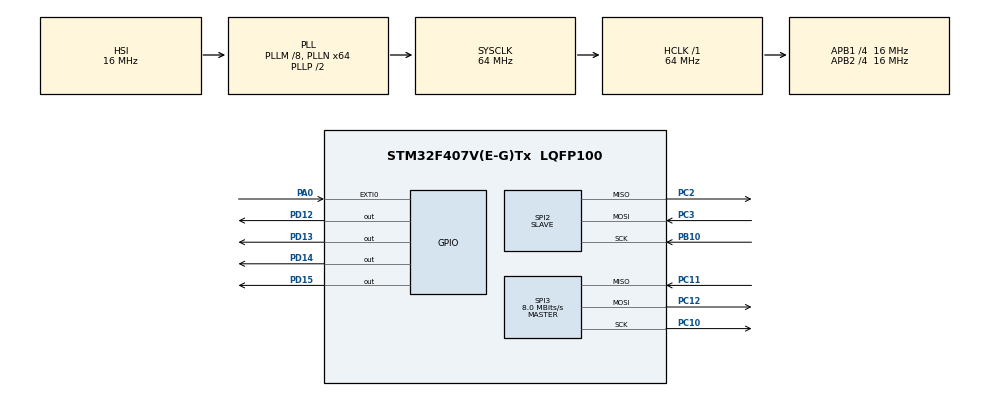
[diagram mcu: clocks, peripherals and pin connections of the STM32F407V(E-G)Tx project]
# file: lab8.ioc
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Mcu.Family=STM32F4
Mcu.Name=STM32F407V(E-G)Tx
Mcu.Package=LQFP100
NVIC.EXTI0_IRQn=true\:0\:0\:false\:true\:true\:2\:true\:true\:true
NVIC.PriorityGroup=NVIC_PRIORITYGROUP_0
NVIC.SPI2_IRQn=true\:0\:0\:false\:true\:true\:4\:true\:true\:true
NVIC.SPI3_IRQn=true\:0\:0\:false\:true\:true\:5\:true\:true\:true
NVIC.TIM2_IRQn=true\:0\:0\:false\:true\:true\:1\:true\:true\:true
NVIC.TIM3_IRQn=true\:0\:0\:false\:true\:true\:3\:true\:true\:true
PA0-WKUP.Signal=GPXTI0
PB10.Mode=Full_Duplex_Slave
PB10.Signal=SPI2_SCK
PC10.Mode=Full_Duplex_Master
PC10.Signal=SPI3_SCK
PC11.Mode=Full_Duplex_Master
PC11.Signal=SPI3_MISO
PC12.Mode=Full_Duplex_Master
PC12.Signal=SPI3_MOSI
PC2.Mode=Full_Duplex_Slave
PC2.Signal=SPI2_MISO
PC3.Mode=Full_Duplex_Slave
PC3.Signal=SPI2_MOSI
PD12.Signal=GPIO_Output
PD13.Signal=GPIO_Output
PD14.Signal=GPIO_Output
PD15.Signal=GPIO_Output
ProjectManager.HeapSize=0x200
ProjectManager.StackSize=0x400
ProjectManager.TargetToolchain=STM32CubeIDE
RCC.48MHZClocksFreq_Value=18285714.285714287
RCC.AHBFreq_Value=64000000
RCC.APB1CLKDivider=RCC_HCLK_DIV4
RCC.APB1Freq_Value=16000000
RCC.APB1TimFreq_Value=32000000
RCC.APB2CLKDivider=RCC_HCLK_DIV4
RCC.APB2Freq_Value=16000000
RCC.APB2TimFreq_Value=32000000
RCC.CortexFreq_Value=64000000
RCC.HCLKFreq_Value=64000000
RCC.HSE_VALUE=8000000
RCC.HSI_VALUE=16000000
RCC.LSE_VALUE=32768
RCC.PLLM=8
RCC.PLLN=64
RCC.PLLQ=7
RCC.SYSCLKFreq_VALUE=64000000
RCC.SYSCLKSource=RCC_SYSCLKSOURCE_PLLCLK
RCC.VCOOutputFreq_Value=128000000
SPI2.Direction=SPI_DIRECTION_2LINES
SPI2.Mode=SPI_MODE_SLAVE
SPI2.VirtualType=VM_SLAVE
SPI3.CalculateBaudRate=8.0 MBits/s
SPI3.Direction=SPI_DIRECTION_2LINES
SPI3.Mode=SPI_MODE_MASTER
SPI3.VirtualType=VM_MASTER
TIM2.Period=16000
TIM2.Prescaler=15999
TIM3.Period=1999
TIM3.Prescaler=15999
VP_TIM2_VS_ClockSourceINT.Mode=Internal
VP_TIM3_VS_ClockSourceINT.Mode=Internal
board=STM32F407G-DISC1

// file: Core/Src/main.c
/* USER CODE BEGIN Header */
/**
  ****************************************************************************
  * @file           : main.c
  * @brief          : Main program body
  ****************************************************************************
  * @attention
  *
  * Copyright (c) 2024 STMicroelectronics.
  * All rights reserved.
  *
  * This software is licensed under terms that can be found in the LICENSE file
  * in the root directory of this software component.
  * If no LICENSE file comes with this software, it is provided AS-IS.
  *
  ****************************************************************************
  */
/* USER CODE END Header */
#include "main.h"

/* USER CODE BEGIN Includes */
extern uint8_t trans_var;
/* USER CODE END Includes */

SPI_HandleTypeDef hspi2;
SPI_HandleTypeDef hspi3;

TIM_HandleTypeDef htim2;
TIM_HandleTypeDef htim3;

/* USER CODE BEGIN PV */

uint32_t Correct_value = 10;
uint32_t inputCaptureVal  = 0;
uint32_t pressDuration  = 0;
uint32_t pressStartTime  = 0;
/* USER CODE END PV */

void SystemClock_Config(void);
static void MX_GPIO_Init(void);
static void MX_TIM2_Init(void);
static void MX_TIM3_Init(void);
static void MX_SPI2_Init(void);
static void MX_SPI3_Init(void);
static void MX_NVIC_Init(void);

/* USER CODE BEGIN 0 */

void HAL_GPIO_EXTI_Callback(uint16_t GPIO_Pin) {
    static uint32_t pressStartTime = 0;
    static uint32_t pressDuration = 0;
    if (GPIO_Pin == GPIO_PIN_0) {
        if (HAL_GPIO_ReadPin(GPIOA, GPIO_PIN_0) == GPIO_PIN_RESET) {

            // Button is pressed, start TIM2
            pressStartTime = HAL_GetTick();
        } else {
            // Button is released, stop TIM2
            pressDuration = HAL_GetTick() - pressStartTime;
            if (pressDuration < 1000) {
            	if (trans_var == 7)
            	{
            		HAL_TIM_Base_Stop_IT(&htim3);
            	}
//                HAL_GPIO_TogglePin(GPIOD, GPIO_PIN_13); // Short press, toggle orange LED
            }
            else if (pressDuration > 2500)
                {
            	HAL_TIM_Base_Start_IT(&htim3);
//            	HAL_GPIO_TogglePin(GPIOD, GPIO_PIN_12);
            	}
            }
        }
    }

/* USER CODE END 0 */

int main(void)
{

  /* MCU Configuration--------------------------------------------------------*/

  /* Reset of all peripherals, Initializes the Flash interface and the Systick. */
  HAL_Init();

  /* Configure the system clock */
  SystemClock_Config();

  /* Initialize all configured peripherals */
  MX_GPIO_Init();
  MX_TIM2_Init();
  MX_TIM3_Init();
  MX_SPI2_Init();
  MX_SPI3_Init();

  /* Initialize interrupts */
  MX_NVIC_Init();
  /* USER CODE BEGIN 2 */
  HAL_TIM_Base_Start(&htim2);
  HAL_TIM_Base_Start_IT(&htim3);
  /* USER CODE END 2 */

  /* Infinite loop */
  while (1)
  {

  }
}

void SystemClock_Config(void)
{
  RCC_OscInitTypeDef RCC_OscInitStruct = {0};
  RCC_ClkInitTypeDef RCC_ClkInitStruct = {0};

  /** Configure the main internal regulator output voltage
  */
  __HAL_RCC_PWR_CLK_ENABLE();
  __HAL_PWR_VOLTAGESCALING_CONFIG(PWR_REGULATOR_VOLTAGE_SCALE1);

  /** Initializes the RCC Oscillators according to the specified parameters
  * in the RCC_OscInitTypeDef structure.
  */
  RCC_OscInitStruct.OscillatorType = RCC_OSCILLATORTYPE_HSI;
  RCC_OscInitStruct.HSIState = RCC_HSI_ON;
  RCC_OscInitStruct.HSICalibrationValue = RCC_HSICALIBRATION_DEFAULT;
  RCC_OscInitStruct.PLL.PLLState = RCC_PLL_ON;
  RCC_OscInitStruct.PLL.PLLSource = RCC_PLLSOURCE_HSI;
  RCC_OscInitStruct.PLL.PLLM = 8;
  RCC_OscInitStruct.PLL.PLLN = 64;
  RCC_OscInitStruct.PLL.PLLP = RCC_PLLP_DIV2;
  RCC_OscInitStruct.PLL.PLLQ = 7;
  if (HAL_RCC_OscConfig(&RCC_OscInitStruct) != HAL_OK)
  {
    Error_Handler();
  }

  /** Initializes the CPU, AHB and APB buses clocks
  */
  RCC_ClkInitStruct.ClockType = RCC_CLOCKTYPE_HCLK|RCC_CLOCKTYPE_SYSCLK
                              |RCC_CLOCKTYPE_PCLK1|RCC_CLOCKTYPE_PCLK2;
  RCC_ClkInitStruct.SYSCLKSource = RCC_SYSCLKSOURCE_PLLCLK;
  RCC_ClkInitStruct.AHBCLKDivider = RCC_SYSCLK_DIV1;
  RCC_ClkInitStruct.APB1CLKDivider = RCC_HCLK_DIV4;
  RCC_ClkInitStruct.APB2CLKDivider = RCC_HCLK_DIV4;

  if (HAL_RCC_ClockConfig(&RCC_ClkInitStruct, FLASH_LATENCY_2) != HAL_OK)
  {
    Error_Handler();
  }
}

/**
  * @brief NVIC Configuration.
  * @retval None
  */
static void MX_NVIC_Init(void)
{
  /* TIM2_IRQn interrupt configuration */
  HAL_NVIC_SetPriority(TIM2_IRQn, 0, 0);
  HAL_NVIC_EnableIRQ(TIM2_IRQn);
  /* EXTI0_IRQn interrupt configuration */
  HAL_NVIC_SetPriority(EXTI0_IRQn, 0, 0);
  HAL_NVIC_EnableIRQ(EXTI0_IRQn);
  /* TIM3_IRQn interrupt configuration */
  HAL_NVIC_SetPriority(TIM3_IRQn, 0, 0);
  HAL_NVIC_EnableIRQ(TIM3_IRQn);
  /* SPI2_IRQn interrupt configuration */
  HAL_NVIC_SetPriority(SPI2_IRQn, 0, 0);
  HAL_NVIC_EnableIRQ(SPI2_IRQn);
  /* SPI3_IRQn interrupt configuration */
  HAL_NVIC_SetPriority(SPI3_IRQn, 0, 0);
  HAL_NVIC_EnableIRQ(SPI3_IRQn);
}

static void MX_SPI2_Init(void)
{

  /* SPI2 parameter configuration*/
  hspi2.Instance = SPI2;
  hspi2.Init.Mode = SPI_MODE_SLAVE;
  hspi2.Init.Direction = SPI_DIRECTION_2LINES;
  hspi2.Init.DataSize = SPI_DATASIZE_8BIT;
  hspi2.Init.CLKPolarity = SPI_POLARITY_LOW;
  hspi2.Init.CLKPhase = SPI_PHASE_1EDGE;
  hspi2.Init.NSS = SPI_NSS_SOFT;
  hspi2.Init.FirstBit = SPI_FIRSTBIT_MSB;
  hspi2.Init.TIMode = SPI_TIMODE_DISABLE;
  hspi2.Init.CRCCalculation = SPI_CRCCALCULATION_DISABLE;
  hspi2.Init.CRCPolynomial = 10;
  if (HAL_SPI_Init(&hspi2) != HAL_OK)
  {
    Error_Handler();
  }

}

static void MX_SPI3_Init(void)
{

  /* SPI3 parameter configuration*/
  hspi3.Instance = SPI3;
  hspi3.Init.Mode = SPI_MODE_MASTER;
  hspi3.Init.Direction = SPI_DIRECTION_2LINES;
  hspi3.Init.DataSize = SPI_DATASIZE_8BIT;
  hspi3.Init.CLKPolarity = SPI_POLARITY_LOW;
  hspi3.Init.CLKPhase = SPI_PHASE_1EDGE;
  hspi3.Init.NSS = SPI_NSS_SOFT;
  hspi3.Init.BaudRatePrescaler = SPI_BAUDRATEPRESCALER_2;
  hspi3.Init.FirstBit = SPI_FIRSTBIT_MSB;
  hspi3.Init.TIMode = SPI_TIMODE_DISABLE;
  hspi3.Init.CRCCalculation = SPI_CRCCALCULATION_DISABLE;
  hspi3.Init.CRCPolynomial = 10;
  if (HAL_SPI_Init(&hspi3) != HAL_OK)
  {
    Error_Handler();
  }

}

static void MX_TIM2_Init(void)
{

  TIM_ClockConfigTypeDef sClockSourceConfig = {0};
  TIM_MasterConfigTypeDef sMasterConfig = {0};

  htim2.Instance = TIM2;
  htim2.Init.Prescaler = 15999;
  htim2.Init.CounterMode = TIM_COUNTERMODE_UP;
  htim2.Init.Period = 16000;
  htim2.Init.ClockDivision = TIM_CLOCKDIVISION_DIV1;
  htim2.Init.AutoReloadPreload = TIM_AUTORELOAD_PRELOAD_DISABLE;
  if (HAL_TIM_Base_Init(&htim2) != HAL_OK)
  {
    Error_Handler();
  }
  sClockSourceConfig.ClockSource = TIM_CLOCKSOURCE_INTERNAL;
  if (HAL_TIM_ConfigClockSource(&htim2, &sClockSourceConfig) != HAL_OK)
  {
    Error_Handler();
  }
  sMasterConfig.MasterOutputTrigger = TIM_TRGO_RESET;
  sMasterConfig.MasterSlaveMode = TIM_MASTERSLAVEMODE_DISABLE;
  if (HAL_TIMEx_MasterConfigSynchronization(&htim2, &sMasterConfig) != HAL_OK)
  {
    Error_Handler();
  }

}

static void MX_TIM3_Init(void)
{

  TIM_ClockConfigTypeDef sClockSourceConfig = {0};
  TIM_MasterConfigTypeDef sMasterConfig = {0};

  htim3.Instance = TIM3;
  htim3.Init.Prescaler = 15999;
  htim3.Init.CounterMode = TIM_COUNTERMODE_UP;
  htim3.Init.Period = 1999;
  htim3.Init.ClockDivision = TIM_CLOCKDIVISION_DIV1;
  htim3.Init.AutoReloadPreload = TIM_AUTORELOAD_PRELOAD_DISABLE;
  if (HAL_TIM_Base_Init(&htim3) != HAL_OK)
  {
    Error_Handler();
  }
  sClockSourceConfig.ClockSource = TIM_CLOCKSOURCE_INTERNAL;
  if (HAL_TIM_ConfigClockSource(&htim3, &sClockSourceConfig) != HAL_OK)
  {
    Error_Handler();
  }
  sMasterConfig.MasterOutputTrigger = TIM_TRGO_RESET;
  sMasterConfig.MasterSlaveMode = TIM_MASTERSLAVEMODE_DISABLE;
  if (HAL_TIMEx_MasterConfigSynchronization(&htim3, &sMasterConfig) != HAL_OK)
  {
    Error_Handler();
  }

}

static void MX_GPIO_Init(void)
{
  GPIO_InitTypeDef GPIO_InitStruct = {0};

  /* GPIO Ports Clock Enable */
  __HAL_RCC_GPIOC_CLK_ENABLE();
  __HAL_RCC_GPIOA_CLK_ENABLE();
  __HAL_RCC_GPIOB_CLK_ENABLE();
  __HAL_RCC_GPIOD_CLK_ENABLE();

  /*Configure GPIO pin Output Level */
  HAL_GPIO_WritePin(GPIOD, GPIO_PIN_12|GPIO_PIN_13|GPIO_PIN_14|GPIO_PIN_15, GPIO_PIN_RESET);

  /*Configure GPIO pin : PA0 */
  GPIO_InitStruct.Pin = GPIO_PIN_0;
  GPIO_InitStruct.Mode = GPIO_MODE_IT_RISING_FALLING;
  GPIO_InitStruct.Pull = GPIO_NOPULL;
  HAL_GPIO_Init(GPIOA, &GPIO_InitStruct);

  /*Configure GPIO pins : PD12 PD13 PD14 PD15 */
  GPIO_InitStruct.Pin = GPIO_PIN_12|GPIO_PIN_13|GPIO_PIN_14|GPIO_PIN_15;
  GPIO_InitStruct.Mode = GPIO_MODE_OUTPUT_PP;
  GPIO_InitStruct.Pull = GPIO_NOPULL;
  GPIO_InitStruct.Speed = GPIO_SPEED_FREQ_LOW;
  HAL_GPIO_Init(GPIOD, &GPIO_InitStruct);

}

void Error_Handler(void)
{
  __disable_irq();
  while (1)
  {
  }
}
